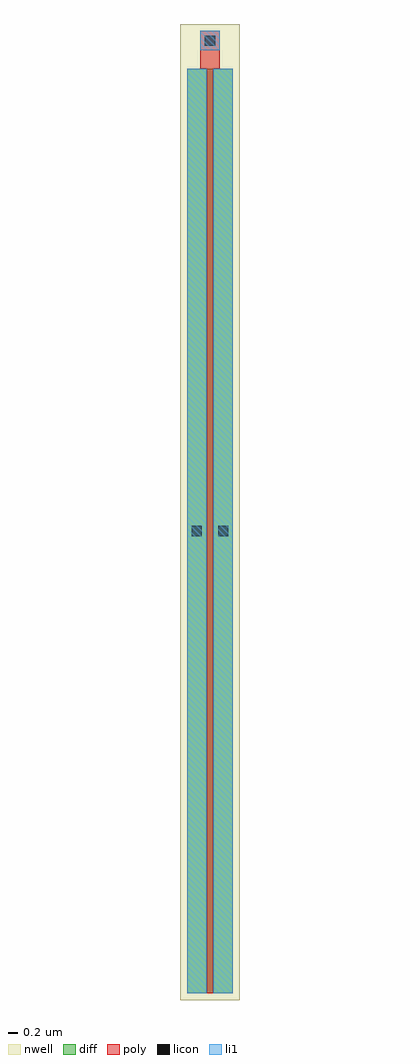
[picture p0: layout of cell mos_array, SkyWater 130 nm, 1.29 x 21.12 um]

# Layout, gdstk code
import gdstk
lib = gdstk.Library(unit=1e-6, precision=1e-09)
def R(c, l, rs):  # rectangles x0, y0, x1, y1
    for r in rs: c.add(gdstk.rectangle(r[:2], r[2:], *l))
nwell = (64, 20)
diff = (65, 20)
poly = (66, 20)
licon = (66, 44)
li1 = (67, 20)

mos_array = lib.new_cell('mos_array')
R(mos_array, nwell, [(-0.15,-0.15,1.14,20.97)])
R(mos_array, diff, [(0,0,0.99,20)])
R(mos_array, poly, [(0.42,0,0.57,20), (0.285,20,0.705,20.82)])
R(mos_array, licon, [(0.1,9.89,0.32,10.11), (0.67,9.89,0.89,10.11), (0.385,20.5,0.605,20.72)])
R(mos_array, li1, [(0,0,0.42,20), (0.57,0,0.99,20), (0.285,20.4,0.705,20.82)])

lib.write_gds('mos_array.gds')
